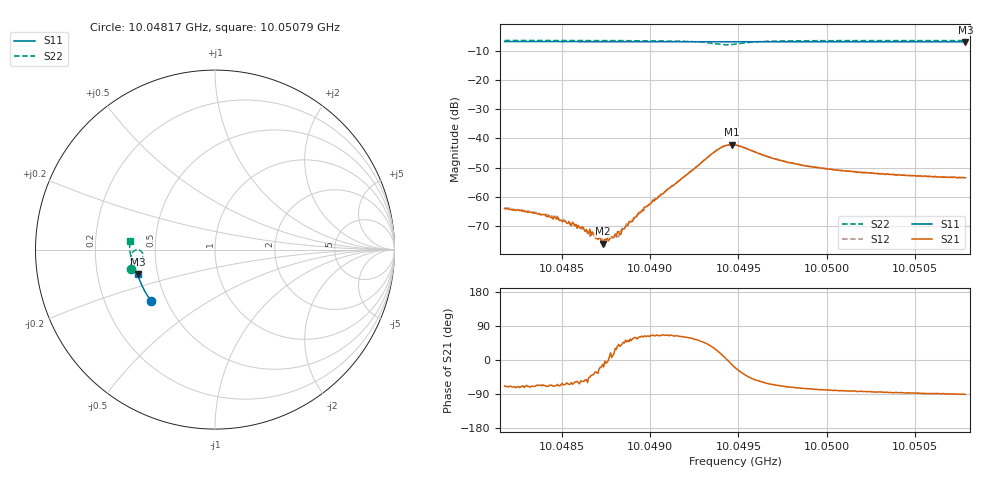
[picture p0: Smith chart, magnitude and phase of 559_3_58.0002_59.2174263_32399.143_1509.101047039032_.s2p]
#  HZ  S  RI  R  50.00
! Rohde & Schwarz Vector Network Analyzer
! Rohde-Schwarz,ZNB20-2Port,1311601062101988,3.16
! Created: UTC 3/21/2024, 1:15:20 AM
! freq[Hz]  re:S11  im:S11  re:S21  im:S21  re:S12  im:S12  re:S22  im:S22
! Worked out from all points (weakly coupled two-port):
!   401 points, 10.04817 GHz to 10.05079 GHz, reference 50 ohm
!   highest |S21| = -42.14 dB at 10.04946 GHz (marker M1); lowest = -76.1 dB at 10.04873 GHz (marker M2)
!   lowest |S11| = -6.9 dB at 10.05079 GHz (marker M3), VSWR 2.65, Z = 19.2 - j6.61 ohm
!   |S11| at or under -10 dB: nowhere
!   |S22| runs from -7.9 to -6.4 dB; largest |S21 - S12| = 0.00058
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1.0048175e10  -0.3541 -0.2885  0.000232 -0.000585  0.000247 -0.000588  -0.4654 -0.1074
1.0048338e10  -0.3605 -0.2798  0.000182 -0.000484  0.000248 -0.00048  -0.4672 -0.0959
1.0048462e10  -0.3652 -0.2731  0.000166 -0.000415  0.000185 -0.000388  -0.4688 -0.087
1.0048612e10  -0.3709 -0.265  0.000166 -0.000253  0.000166 -0.000221  -0.4701 -0.0756
1.0048645e10  -0.3721 -0.2632  0.000126 -0.000215  0.000165 -0.000157  -0.4703 -0.0731
1.0048677e10  -0.3733 -0.2614  0.000184 -0.000147  0.000187 -0.000133  -0.4705 -0.0704
1.004873e10  -0.3752 -0.2585  0.000153 -3.17e-05  0.000187 -2.9e-05  -0.4707 -0.0663
1.0048736e10  -0.3755 -0.2581  0.000159 -5.11e-05  0.000155 -5.28e-05  -0.4707 -0.0657
1.0048769e10  -0.3765 -0.2563  0.000184 2.91e-05  0.000188 -8.34e-06  -0.4708 -0.0631
1.0048808e10  -0.378 -0.2542  0.000184 9.79e-05  0.000178 9.57e-05  -0.4709 -0.0598
1.004884e10  -0.3792 -0.2524  0.000203 0.000183  0.000192 0.000214  -0.4709 -0.057
1.0048854e10  -0.3795 -0.2517  0.000201 0.0002  0.000198 0.000207  -0.471 -0.0558
1.0048965e10  -0.3833 -0.2453  0.000298 0.00058  0.000229 0.000533  -0.4702 -0.0453
1.0049049e10  -0.3862 -0.2405  0.000432 0.000914  0.000366 0.000954  -0.469 -0.0365
1.0049376e10  -0.396 -0.2216  0.00563 0.00272  0.00542 0.00308  -0.4176 -0.00509
1.0049421e10  -0.3973 -0.219  0.0074 0.000933  0.00731 0.00138  -0.403 -0.0222
1.0049461e10  -0.3984 -0.2169  0.00766 -0.00153  0.00778 -0.000972  -0.4036 -0.0432
1.004948e10  -0.3989 -0.2159  0.00726 -0.00261  0.00746 -0.00213  -0.409 -0.0519
1.0049696e10  -0.4057 -0.2035  0.00193 -0.00411  0.0022 -0.00403  -0.4632 -0.0455
1.0049918e10  -0.4118 -0.1903  0.000755 -0.00315  0.000905 -0.00311  -0.473 -0.0199
1.0050355e10  -0.4224 -0.1636  0.000176 -0.00241  0.000338 -0.00242  -0.4755 0.0166
1.0050786e10  -0.4311 -0.1367  -4.01e-05 -0.00211  0.000123 -0.00213  -0.4735 0.0476
